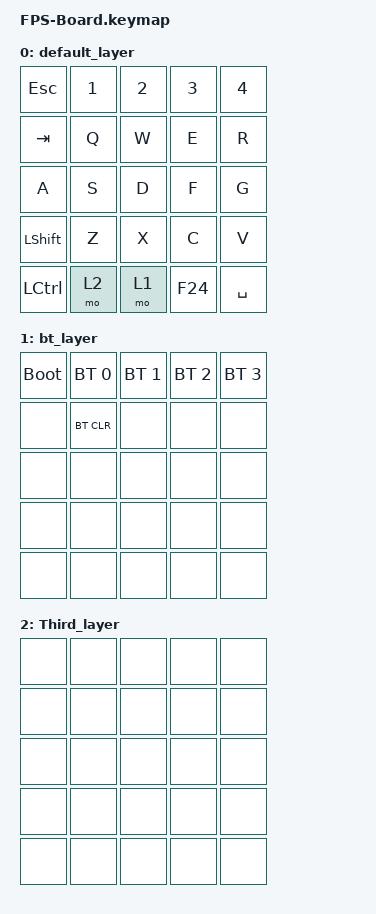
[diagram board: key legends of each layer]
#include <behaviors.dtsi>
#include <dt-bindings/zmk/keys.h>
#include <dt-bindings/zmk/bt.h>

/ {
    keymap {
        compatible = "zmk,keymap";

        default_layer {

            bindings = <
    &kp ESC    &kp N1   &kp N2   &kp N3    &kp N4
    &kp TAB    &kp Q    &kp W    &kp E     &kp R
    &kp A      &kp S    &kp D    &kp F     &kp G                                                
    &kp LSHIFT &kp Z    &kp X    &kp C     &kp V
    &kp LCTRL  &mo 2    &mo 1    &kp F24   &kp SPACE 
            >;

        };

        bt_layer {
            bindings = <
                &bootloader &bt BT_SEL 0 &bt BT_SEL 1 &bt BT_SEL 2 &bt BT_SEL 3
                &none &bt BT_CLR &none &none &none 
                &none &none &none &none &none
                &none &none &none &none &none
                &none &none &none &none &none  
            >;  
        };

        Third_layer {
            bindings = <
                &none &none &none &none &none
                &none &none &none &none &none 
                &none &none &none &none &none
                &none &none &none &none &none
                &none &none &none &none &none  
            >;  
        };
    };
};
